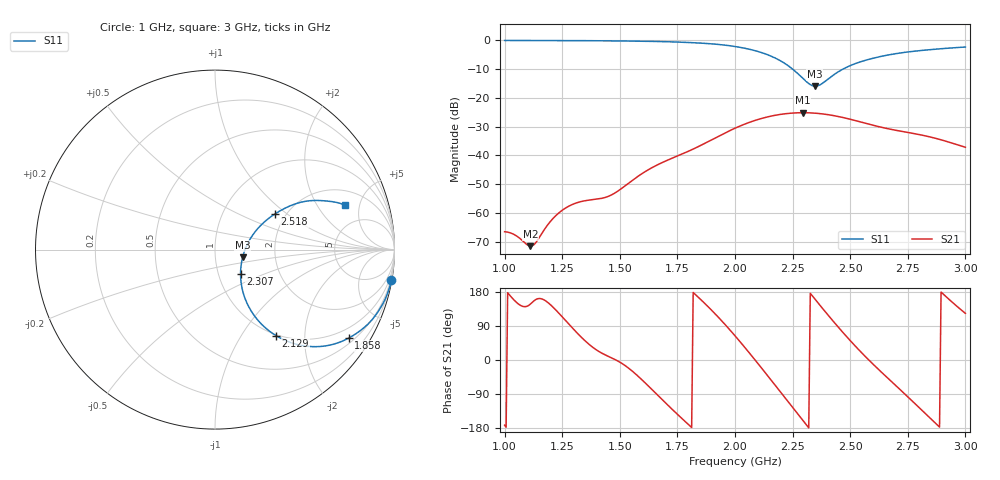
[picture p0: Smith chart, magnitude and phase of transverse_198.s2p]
! TOUCHSTONE file generated by CST MICROWAVE STUDIO
! Date and time: Tue Mar 11 13:57:41 2025
! Project name: transverse.cst
! Parameters = {Fracture=5; B=12.5; D=160; F=15; Feed=2.85625; L=100; M=20; R=0.384908; S=1; Theta=180; length=57.125; wave=114.25}
! Header version: 2024
! Port assignment regex: !\s*Touchstone port\s*([0-9]+)\s*=\s*(CST MWS port|CST DES external port|CST DES block port)\s*(.+)\s* \(\"(.*)\"\)(\s*mode\s*([0-9]+))?.*
! Touchstone port assignment:
! Touchstone port 1 = CST MWS port 1 ("")
! Touchstone port 2 = CST MWS port 2 ("")
# GHz S MA R 50
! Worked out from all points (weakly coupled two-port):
!   304 points, 1 GHz to 3 GHz, reference 50 ohm
!   highest |S21| = -25.17 dB at 2.294 GHz (marker M1); lowest = -71.6 dB at 1.112 GHz (marker M2)
!   lowest |S11| = -15.9 dB at 2.347 GHz (marker M3), VSWR 1.38, Z = 67.8 - j6.11 ohm
!   |S11| at or under -10 dB: 2.25 GHz to 2.468 GHz (218.2 MHz wide, 9.25 % of centre)
!   S12 and S22 are empty: the file has one direction only
!   S11 on the Smith chart (normalised r, x): 1 GHz: 0, -12; 1.858 GHz: 0.66, -3.21; 2.129 GHz: 0.98, -1.44; 2.307 GHz: 1.28, -0.36; 2.518 GHz: 1.76, +0.82; 3 GHz: 3.01, +3.62
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1  0.9976 -9.8  0.0004687 -172.0  0 0.0  0 0.0
1.0462  0.997 -10.4  0.0004085 155.0  0 0.0  0 0.0
1.11221  0.9961 -11.4  0.0002624 147.7  0 0.0  0 0.0
1.13201  0.9958 -11.7  0.0002909 158.2  0 0.0  0 0.0
1.19142  0.9945 -12.7  0.0006501 149.9  0 0.0  0 0.0
1.23102  0.9932 -13.3  0.0009613 126.4  0 0.0  0 0.0
1.28383  0.9914 -14.3  0.001335 91.4  0 0.0  0 0.0
1.33663  0.9894 -15.3  0.001584 57.9  0 0.0  0 0.0
1.46205  0.9819 -18.1  0.002029 6.3  0 0.0  0 0.0
1.66667  0.9567 -24.4  0.006933 -94.3  0 0.0  0 0.0
1.85809  0.8938 -33.4  0.01535 155.6  0 0.0  0 0.0
2.0033  0.7794 -43.9  0.03003 61.6  0 0.0  0 0.0
2.12871  0.5878 -54.7  0.04529 -31.5  0 0.0  0 0.0
2.21452  0.4012 -59.5  0.05269 -97.7  0 0.0  0 0.0
2.29373  0.22 -49.2  0.05516 -158.8  0 0.0  0 0.0
2.30693  0.1963 -43.5  0.05511 -168.9  0 0.0  0 0.0
2.33993  0.1612 -21.3  0.05442 166.0  0 0.0  0 0.0
2.34653  0.1597 -16.0  0.05418 161.1  0 0.0  0 0.0
2.42574  0.2471 24.3  0.0493 102.7  0 0.0  0 0.0
2.51815  0.3891 30.8  0.04067 39.3  0 0.0  0 0.0
2.66997  0.5625 28.4  0.02869 -51.7  0 0.0  0 0.0
3  0.7663 18.9  0.01381 123.0  0 0.0  0 0.0
